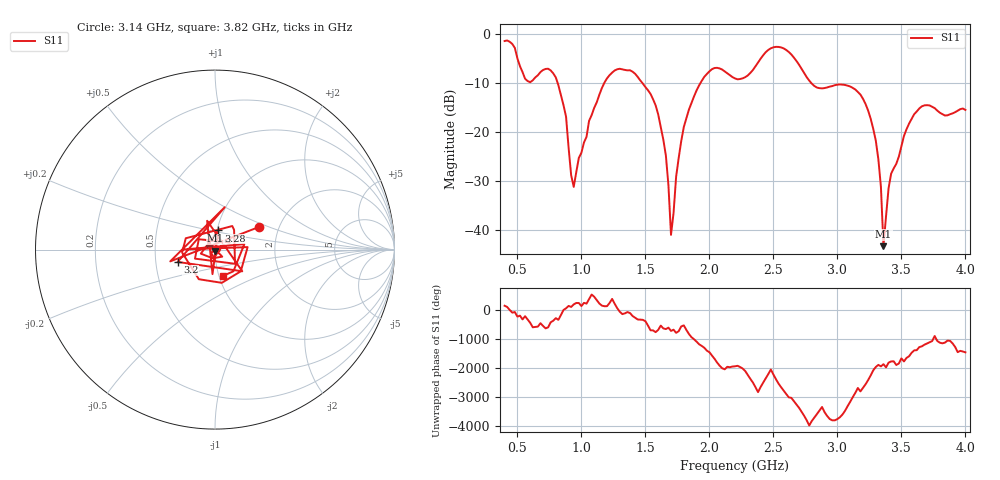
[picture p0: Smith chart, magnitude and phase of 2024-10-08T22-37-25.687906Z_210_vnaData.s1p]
! Created with skrf (http://scikit-rf.org).
# Hz S RI R 50.0
!freq ReS11 ImS11
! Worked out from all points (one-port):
!   181 points, 400 MHz to 4 GHz, reference 50 ohm
!   lowest |S11| = -43.3 dB at 3.36 GHz (marker M1), VSWR 1.01, Z = 50.2 - j0.637 ohm
!   |S11| at or under -10 dB: 815.1 MHz to 1.177 GHz (362.4 MHz wide, 36.4 % of centre); 1.478 GHz to 1.929 GHz (450.9 MHz wide, 26.5 % of centre); 2.798 GHz to end of sweep
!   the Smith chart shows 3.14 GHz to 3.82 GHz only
!   S11 on the Smith chart (normalised r, x): 3.14 GHz: 1.57, +0.42; 3.2 GHz: 0.65, -0.09; 3.28 GHz: 1.01, +0.22; 3.82 GHz: 1.05, -0.31
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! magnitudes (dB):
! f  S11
! 400 MHz  -1.3
! 580 MHz  -9.5
! 760 MHz  -7.4
! 860 MHz  -14.5
! 940 MHz  -31.2
! 1.06 GHz  -17.7
! 1.3 GHz  -7.0
! 1.58 GHz  -14.5
! 1.66 GHz  -24.8
! 1.7 GHz  -41.0
! 1.76 GHz  -25.3
! 1.84 GHz  -15.4
! 1.96 GHz  -8.7
! 2.2 GHz  -9.0
! 2.5 GHz  -2.6
! 2.66 GHz  -4.7
! 2.84 GHz  -10.9
! 3.1 GHz  -10.7
! 3.14 GHz  -11.3
! 3.2 GHz  -13.2
! 3.28 GHz  -19.3
! 3.34 GHz  -31.2
! 3.36 GHz  -43.3
! 3.42 GHz  -28.5
! 3.56 GHz  -18.2
! 3.68 GHz  -14.5
! 3.82 GHz  -16.3
! 4 GHz  -15.4
